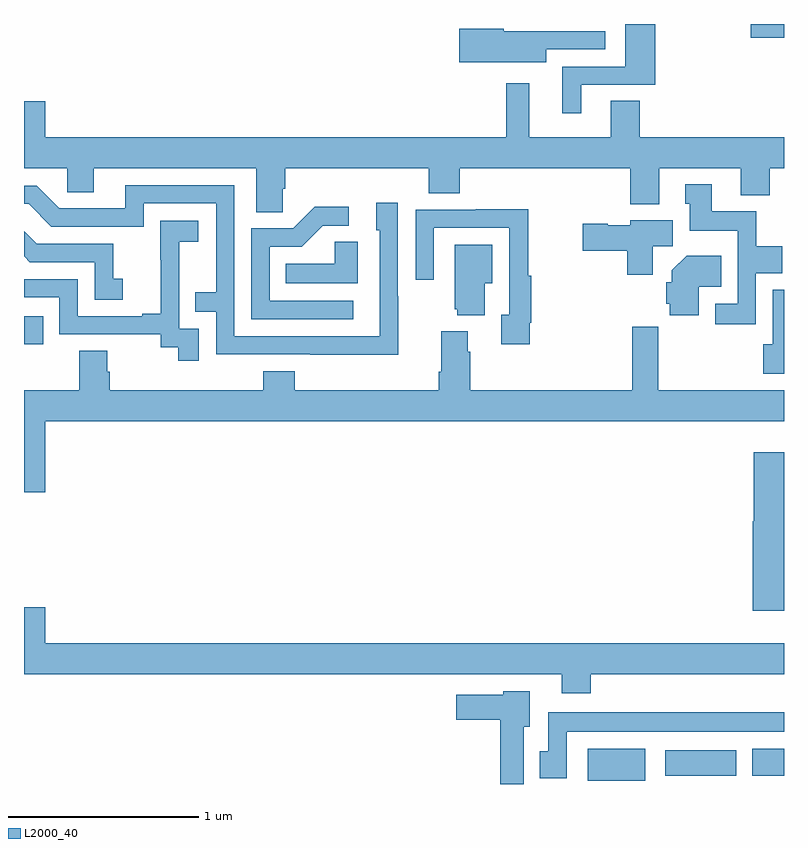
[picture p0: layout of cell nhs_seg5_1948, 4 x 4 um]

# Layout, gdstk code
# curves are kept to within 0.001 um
import gdstk
lib = gdstk.Library(unit=1e-6, precision=1e-09)
def R(c, l, rs):  # rectangles x0, y0, x1, y1
    for r in rs: c.add(gdstk.rectangle(r[:2], r[2:], *l))
def P(c, l, *ps):  # polygons
    for p in ps: c.add(gdstk.Polygon(p, *l))
L2000_40 = (2000, 40)

nhs_seg5_1948 = lib.new_cell('nhs_seg5_1948')
R(nhs_seg5_1948, L2000_40, [(227.966,906.815,228.271,906.985), (228.375,906.842,228.748,906.976), (228.833,906.842,229,906.985), (225,909.114,225.101,909.261), (228.824,910.727,229,910.799)])
P(nhs_seg5_1948, L2000_40, [(227.932,910.479),(228.323,910.479),(228.323,910.799),(228.164,910.799),(228.164,910.575),(227.834,910.575),(227.834,910.329),(227.932,910.329)],
  [(227.749,910.665),(228.058,910.665),(228.058,910.761),(227.745,910.761),(227.745,910.762),(227.526,910.762),(227.526,910.775),(227.292,910.775),(227.292,910.597),(227.749,910.597)],
  [(226.362,909.931),(226.376,909.931),(226.376,910.04),(227.129,910.04),(227.129,909.907),(227.294,909.907),(227.294,910.04),(228.191,910.04),(228.191,909.851),(228.343,909.851),(228.343,910.04),(228.773,910.04),(228.773,909.899),(228.926,909.899),(228.926,910.04),(229,910.04),(229,910.204),(228.242,910.204),(228.242,910.394),(228.089,910.394),(228.089,910.204),(227.659,910.204),(227.659,910.486),(227.538,910.486),(227.538,910.204),(225.112,910.204),(225.112,910.393),(225,910.393),(225,910.04),(225.228,910.04),(225.228,909.913),(225.367,909.913),(225.367,910.04),(226.223,910.04),(226.223,909.808),(226.362,909.808)],
  [(228.852,909.488),(228.991,909.488),(228.991,909.628),(228.855,909.628),(228.855,909.814),(228.619,909.814),(228.619,909.955),(228.479,909.955),(228.479,909.852),(228.503,909.852),(228.503,909.71),(228.756,909.71),(228.756,909.327),(228.639,909.327),(228.639,909.219),(228.852,909.219)],
  [(226.971,909.365),(226.968,909.365),(226.968,909.859),(226.853,909.859),(226.853,909.714),(226.872,909.714),(226.872,909.156),(226.107,909.156),(226.107,909.951),(225.533,909.951),(225.533,909.828),(225.186,909.828),(225.066,909.948),(225,909.948),(225,909.852),(225.024,909.852),(225.144,909.732),(225.63,909.732),(225.63,909.855),(226.011,909.855),(226.011,909.386),(225.901,909.386),(225.901,909.285),(226.011,909.285),(226.011,909.06),(226.971,909.059)],
  [(226.732,909.342),(226.293,909.342),(226.293,909.627),(226.462,909.627),(226.573,909.738),(226.708,909.738),(226.708,909.836),(226.529,909.836),(226.416,909.723),(226.197,909.723),(226.197,909.246),(226.732,909.246)],
  [(227.662,909.226),(227.669,909.226),(227.669,909.473),(227.654,909.473),(227.654,909.824),(227.377,909.824),(227.377,909.822),(227.061,909.822),(227.061,909.453),(227.157,909.453),(227.157,909.726),(227.553,909.726),(227.553,909.27),(227.513,909.27),(227.513,909.114),(227.662,909.114)],
  [(228.309,909.628),(228.415,909.628),(228.415,909.766),(228.192,909.766),(228.192,909.739),(228.072,909.739),(228.072,909.747),(227.94,909.747),(227.94,909.605),(228.176,909.605),(228.176,909.48),(228.309,909.48)],
  [(225.921,909.195),(225.816,909.195),(225.816,909.425),(225.818,909.425),(225.818,909.653),(225.916,909.653),(225.916,909.763),(225.718,909.763),(225.718,909.557),(225.719,909.557),(225.719,909.274),(225.623,909.274),(225.623,909.261),(225.282,909.261),(225.282,909.456),(225,909.456),(225,909.36),(225.186,909.36),(225.186,909.165),(225.72,909.165),(225.72,909.097),(225.813,909.097),(225.813,909.027),(225.921,909.027)],
  [(225.52,909.457),(225.471,909.457),(225.471,909.642),(225.067,909.642),(225,909.709),(225,909.576),(225.03,909.546),(225.372,909.546),(225.372,909.348),(225.52,909.348)],
  [(226.756,909.653),(226.635,909.653),(226.635,909.538),(226.378,909.538),(226.378,909.434),(226.756,909.434)],
  [(227.425,909.434),(227.464,909.434),(227.464,909.637),(227.267,909.637),(227.267,909.297),(227.279,909.297),(227.279,909.266),(227.425,909.266)],
  [(228.55,909.416),(228.671,909.416),(228.671,909.58),(228.488,909.58),(228.41,909.502),(228.41,909.441),(228.381,909.441),(228.381,909.327),(228.398,909.327),(228.398,909.266),(228.55,909.266)],
  [(229,909.4),(228.941,909.4),(228.941,909.114),(228.89,909.114),(228.89,908.958),(229,908.958)],
  [(225.112,908.708),(229,908.708),(229,908.872),(228.338,908.872),(228.338,909.205),(228.202,909.205),(228.202,908.872),(227.348,908.872),(227.348,909.074),(227.335,909.074),(227.335,909.181),(227.195,909.181),(227.195,908.968),(227.183,908.968),(227.183,908.872),(226.424,908.872),(226.424,908.971),(226.259,908.971),(226.259,908.872),(225.452,908.872),(225.452,908.97),(225.439,908.97),(225.439,909.08),(225.292,909.08),(225.292,908.872),(225,908.872),(225,908.334),(225.112,908.334)],
  [(229,908.545),(228.842,908.545),(228.842,908.181),(228.836,908.181),(228.836,907.71),(229,907.71)],
  [(227.984,907.376),(229,907.376),(229,907.54),(225.112,907.54),(225.112,907.729),(225,907.729),(225,907.376),(227.831,907.376),(227.831,907.277),(227.984,907.277)],
  [(227.629,907.101),(227.662,907.101),(227.662,907.288),(227.523,907.288),(227.523,907.27),(227.274,907.27),(227.274,907.136),(227.507,907.136),(227.507,906.799),(227.629,906.799)],
  [(227.856,907.073),(229,907.073),(229,907.177),(227.759,907.177),(227.759,906.972),(227.714,906.972),(227.714,906.828),(227.856,906.828)])

lib.write_gds('nhs_seg5_1948.gds')
